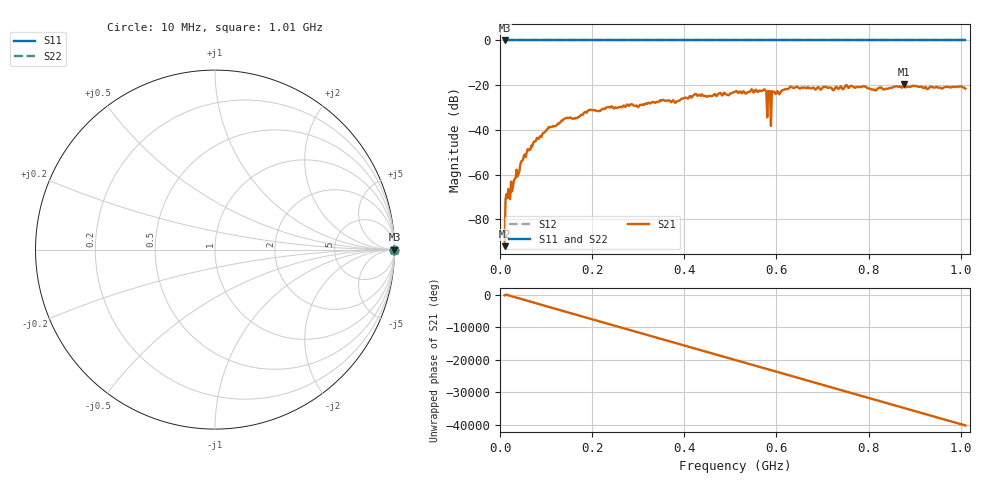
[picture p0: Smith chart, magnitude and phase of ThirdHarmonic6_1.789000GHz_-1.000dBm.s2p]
! 8/16/2025 9:38:31 PM
! C:\ANRITSUVNA\TEMP\TEMP.S2P
! CHANNEL.1
! TR.MEASUREMENT
! RAW.DATA
! RF.CORRECTION.OFF
! AVERAGING.OFF
! IF.BANDWIDTH: 5KHZ
! SWEEPTYPE:  FREQ.SWEEP(Linear)
! Reference Plane Port Info
! PORT:  PORT1  PORT2
! DISTANCE:  0  m  0  m
! TIME:  0  s  0  s
! PHASE.OFFSET:  0  deg.  0  deg.
! LOSS:  0  dB  0  dB
! REF.LOSS:  0  dB  0  dB
! REF.FREQ:  0  Hz  0  Hz
! Power Info
! POWER:  -20  dBm  -20  dBm
! EFF.POWER:  -20  dBm  -20  dBm
! SOURCE.ATTEN:  0  dB  0  dB
! TEST.ATTEN:  0  dB  0  dB
# GHZ S RI R 50.0
! FREQ.GHZ  S11RE  S11IM  S21RE  S21IM  S12RE  S12IM  S22RE  S22IM
!; PortSelection: Port_12
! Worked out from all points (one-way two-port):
!   501 points, 10 MHz to 1.01 GHz, reference 50 ohm
!   highest |S21| = -19.68 dB at 876 MHz (marker M1); lowest = -92.1 dB at 10 MHz (marker M2)
!   lowest |S11| = 0.0 dB at 10 MHz (marker M3)
!   |S11| at or under -10 dB: nowhere
!   |S22| runs from 0.0 to 0.0 dB; largest |S21 - S12| = 1.1
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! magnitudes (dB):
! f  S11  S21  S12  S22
! 10 MHz  0.0  -92.1  0.0  0.0
! 16 MHz  0.0  -70.7  0.0  0.0
! 24 MHz  0.0  -63.2  0.0  0.0
! 48 MHz  0.0  -53.9  0.0  0.0
! 76 MHz  0.0  -45.2  0.0  0.0
! 142 MHz  0.0  -34.9  0.0  0.0
! 178 MHz  0.0  -33.3  0.0  0.0
! 194 MHz  0.0  -31.2  0.0  0.0
! 344 MHz  0.0  -27.6  0.0  0.0
! 510 MHz  0.0  -23.0  0.0  0.0
! 574 MHz  0.0  -21.9  0.0  0.0
! 576 MHz  0.0  -22.4  0.0  0.0
! 582 MHz  0.0  -22.6  0.0  0.0
! 584 MHz  0.0  -23.2  0.0  0.0
! 586 MHz  0.0  -22.7  0.0  0.0
! 592 MHz  0.0  -23.3  0.0  0.0
! 594 MHz  0.0  -22.9  0.0  0.0
! 632 MHz  0.0  -20.7  0.0  0.0
! 678 MHz  0.0  -21.3  0.0  0.0
! 844 MHz  0.0  -21.4  0.0  0.0
! 876 MHz  0.0  -19.7  0.0  0.0
! 1.01 GHz  0.0  -21.6  0.0  0.0
